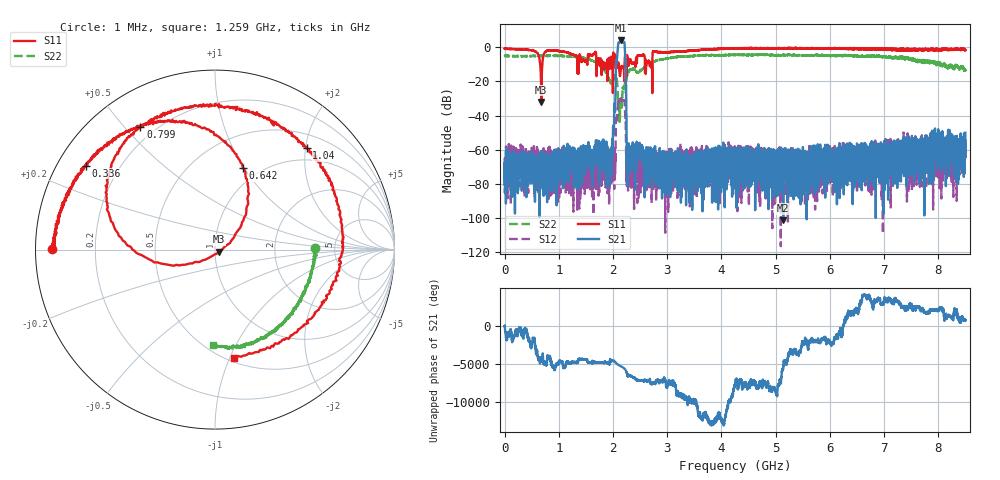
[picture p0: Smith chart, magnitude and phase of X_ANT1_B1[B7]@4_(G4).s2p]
#  HZ  S  RI  R  50.00
! Rohde & Schwarz Vector Network Analyzer
! Rohde-Schwarz,ZNBT8-20Port,1318700624101681,3.50
! Created: UTC 7/15/2025, 2:14:06 PM
! freq[Hz]  re:S1010  im:S1010  re:S0410  im:S0410  re:S1004  im:S1004  re:S44  im:S44
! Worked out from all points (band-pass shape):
!   8500 points, 1 MHz to 8.5 GHz, reference 50 ohm
!   highest |S21| = 3.99 dB at 2.144 GHz (marker M1); lowest = -101.4 dB at 5.14 GHz (marker M2)
!   |S21| within 3 dB of the highest: 2.093 GHz to 2.216 GHz (122.7 MHz wide, 5.7 % of centre)
!   lowest |S11| = -32.1 dB at 677 MHz (marker M3), VSWR 1.05, Z = 52.3 - j1.13 ohm
!   |S11| at or under -10 dB: 657.9 MHz to 696.2 MHz (38.34 MHz wide, 5.66 % of centre); 2.062 GHz to 2.089 GHz (26.45 MHz wide, 1.27 % of centre); 2.107 GHz to 2.214 GHz (107.6 MHz wide, 4.98 % of centre)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
!   |S22| runs from -43.6 to -4.1 dB; largest |S21 - S12| = 1.6
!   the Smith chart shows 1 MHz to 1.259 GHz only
!   S11 on the Smith chart (normalised r, x): 1 MHz: 0.05, +0.00; 336 MHz: 0.08, +0.29; 642 MHz: 0.84, +0.99; 799 MHz: 0.15, +0.55; 1.04 GHz: 0.75, +2.02; 1.259 GHz: 0.54, -1.04
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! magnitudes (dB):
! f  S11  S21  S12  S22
! 1 MHz  -0.9  -75.6  -69.9  -5.1
! 336 MHz  -1.3  -70.5  -66.4  -5.1
! 642 MHz  -6.4  -75.0  -74.8  -5.1
! 677 MHz  -32.1  -71.8  -64.3  -5.0
! 799 MHz  -1.9  -77.9  -67.3  -5.1
! 1.04 GHz  -2.4  -70.8  -70.9  -5.0
! 1.259 GHz  -4.3  -65.0  -68.0  -5.5
! 1.418 GHz  -8.3  -63.0  -70.7  -6.2
! 1.952 GHz  -7.6  -64.0  -72.1  -20.4
! 2.009 GHz  -3.2  -45.8  -70.5  -18.6
! 2.089 GHz  -9.9  -0.6  -34.6  -28.0
! 2.144 GHz  -13.1  4.0  -30.2  -31.9
! 2.205 GHz  -15.1  2.8  -31.3  -23.2
! 2.293 GHz  -9.9  -71.9  -80.4  -13.9
! 2.497 GHz  -4.8  -59.0  -63.7  -14.0
! 2.685 GHz  -10.8  -65.8  -75.7  -9.1
! 2.834 GHz  -2.8  -64.6  -63.7  -7.6
! 4.251 GHz  -0.7  -70.5  -64.3  -4.4
! 5.14 GHz  -0.6  -101.4  -61.8  -4.4
! 5.667 GHz  -0.3  -61.2  -71.2  -4.5
! 7.084 GHz  -1.0  -70.5  -64.9  -5.7
! 8.5 GHz  -1.7  -50.1  -62.3  -13.7
